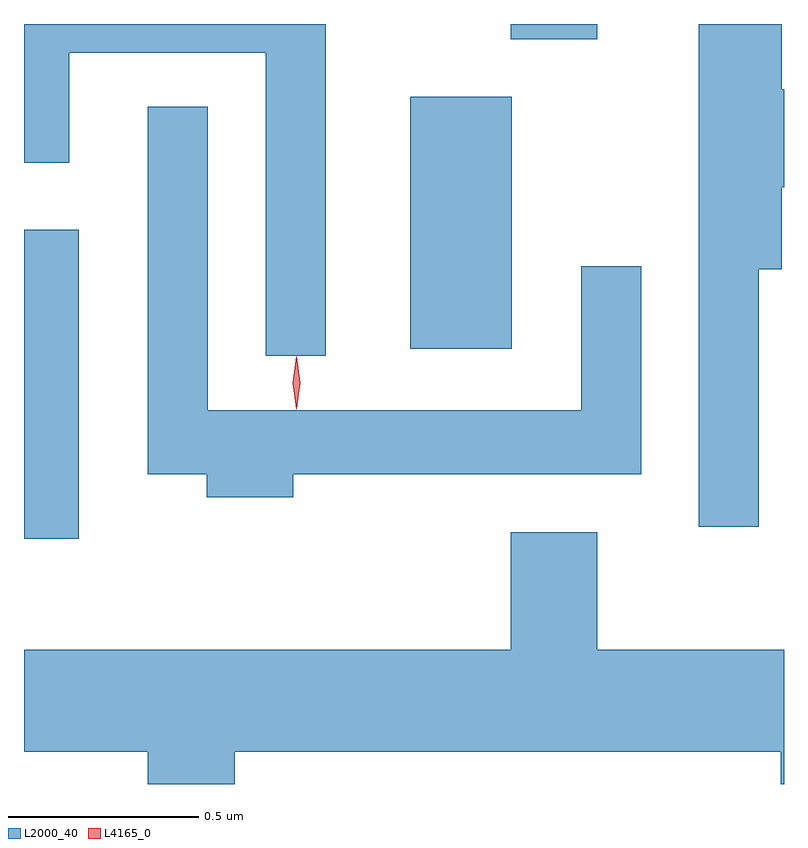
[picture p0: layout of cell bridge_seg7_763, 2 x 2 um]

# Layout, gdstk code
import gdstk
lib = gdstk.Library(unit=1e-6, precision=1e-09)
def R(c, l, rs):  # rectangles x0, y0, x1, y1
    for r in rs: c.add(gdstk.rectangle(r[:2], r[2:], *l))
def P(c, l, *ps):  # polygons
    for p in ps: c.add(gdstk.Polygon(p, *l))
L2000_40 = (2000, 40)
L4165_0 = (4165, 0)

bridge_seg7_763 = lib.new_cell('bridge_seg7_763')
R(bridge_seg7_763, L2000_40, [(566.11,1783.696,566.254,1784.509), (567.126,1784.196,567.394,1784.859), (567.391,1785.011,567.619,1785.051)])
P(bridge_seg7_763, L2000_40, [(568.044,1784.406),(568.104,1784.406),(568.104,1784.621),(568.11,1784.621),(568.11,1784.879),(568.104,1784.879),(568.104,1785.051),(567.886,1785.051),(567.886,1783.728),(568.044,1783.728)],
  [(566.904,1785.051),(566.11,1785.051),(566.11,1784.686),(566.229,1784.686),(566.229,1784.976),(566.746,1784.976),(566.746,1784.178),(566.904,1784.178)],
  [(566.819,1783.866),(567.734,1783.866),(567.734,1784.413),(567.576,1784.413),(567.576,1784.034),(566.594,1784.034),(566.594,1784.833),(566.436,1784.833),(566.436,1783.866),(566.591,1783.866),(566.591,1783.806),(566.819,1783.806)],
  [(566.664,1783.136),(568.101,1783.136),(568.101,1783.051),(568.11,1783.051),(568.11,1783.404),(567.619,1783.404),(567.619,1783.714),(567.391,1783.714),(567.391,1783.404),(566.11,1783.404),(566.11,1783.136),(566.436,1783.136),(566.436,1783.051),(566.664,1783.051)])
P(bridge_seg7_763, L4165_0, [(566.827,1784.037),(566.827,1784.038),(566.817,1784.107),(566.827,1784.176),(566.827,1784.176),(566.828,1784.176),(566.837,1784.107),(566.828,1784.038)],
  [(566.827,1784.04),(566.827,1784.04),(566.817,1784.106),(566.826,1784.172),(566.827,1784.173),(566.827,1784.172),(566.837,1784.106),(566.828,1784.04)])

lib.write_gds('bridge_seg7_763.gds')
